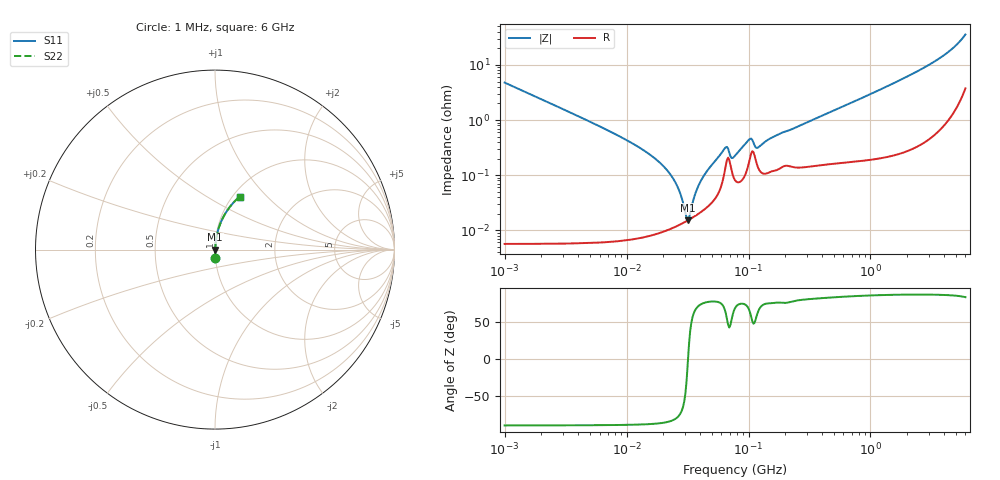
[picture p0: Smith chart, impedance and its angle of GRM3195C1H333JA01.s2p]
!Murata Part Number: GRM3195C1H333JA01
!These Parameters are Measured in Series Mode Connection
!Data Generated on Mar 30, 2021
!  o--ll--o
!Port1  Port2
!  o------o
!Operation Temp=25[degC], DC Bias Voltage=0[V]
!Freq. Start=1000[kHz] Stop=6[GHz] 401[Steps]
# Hz S RI R 50
!Freq.(Hz) S11(Real) S11(Imag) S21(Real) S21(Imag) S12(Real) S12(Imag) S22(Real) S22(Imag)
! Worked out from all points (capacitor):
!   401 points, 1 MHz to 6 GHz, reference 50 ohm
!   read as one part in series: C = 33.3 nF near 1.044 MHz
!   lowest |Z| = 15.1 mohm at 31.76 MHz (marker M1)
!   series resonance near 31.91 MHz, so ESL is about 750 pH
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1000000  0.00234 -0.0477  0.9977 0.0477  0.9977 0.0477  0.00234 -0.0477
4293785  0.000178 -0.0109  0.9998 0.0109  0.9998 0.0109  0.000178 -0.0109
1.093935e7  8.26e-05 -0.00386  0.9999 0.00386  0.9999 0.00386  8.26e-05 -0.00386
1.843659e7  9.13e-05 -0.00174  0.9999 0.00174  0.9999 0.00174  9.13e-05 -0.00174
2.499862e7  0.000115 -0.000745  0.9999 0.000745  0.9999 0.000745  0.000115 -0.000745
2.727078e7  0.000126 -0.000478  0.9999 0.000478  0.9999 0.000478  0.000126 -0.000478
3.040356e7  0.000143 -0.000147  0.9999 0.000147  0.9999 0.000147  0.000143 -0.000147
3.175522e7  0.00015 -1.49e-05  0.9998 1.49e-05  0.9998 1.49e-05  0.00015 -1.49e-05
3.316698e7  0.000159 0.000118  0.9998 -0.000118  0.9998 -0.000118  0.000159 0.000118
3.618157e7  0.000179 0.000386  0.9998 -0.000386  0.9998 -0.000386  0.000179 0.000386
3.8621e7  0.000197 0.000592  0.9998 -0.000592  0.9998 -0.000592  0.000197 0.000592
4.800399e7  0.00029 0.00134  0.9997 -0.00134  0.9997 -0.00134  0.00029 0.00134
6.508975e7  0.0015 0.00283  0.9985 -0.00283  0.9985 -0.00283  0.0015 0.00283
7.256705e7  0.00122 0.00163  0.9988 -0.00163  0.9988 -0.00163  0.00122 0.00163
7.745967e7  0.000812 0.0021  0.9992 -0.0021  0.9992 -0.0021  0.000812 0.0021
1.027698e8  0.00205 0.00406  0.998 -0.00406  0.998 -0.00406  0.00205 0.00406
1.196694e8  0.00138 0.00285  0.9986 -0.00285  0.9986 -0.00285  0.00138 0.00285
1.732027e8  0.00128 0.00526  0.9987 -0.00526  0.9987 -0.00526  0.00128 0.00526
3.325952e8  0.00154 0.00985  0.9985 -0.00985  0.9985 -0.00985  0.00154 0.00985
1.428092e9  0.00398 0.0424  0.996 -0.0424  0.996 -0.0424  0.00398 0.0424
3.483508e9  0.0201 0.1186  0.9799 -0.1186  0.9799 -0.1186  0.0201 0.1186
6e9  0.1371 0.2951  0.8629 -0.2951  0.8629 -0.2951  0.1371 0.2951
